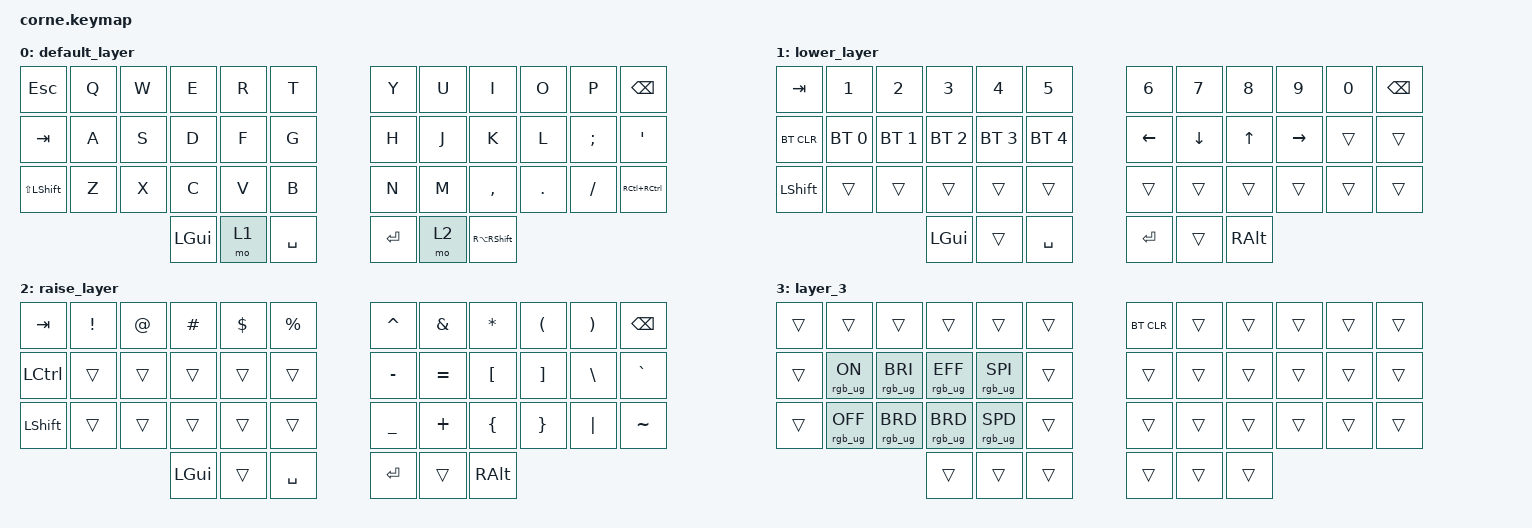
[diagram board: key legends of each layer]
/*
 * Copyright (c) 2020 The ZMK Contributors
 *
 * SPDX-License-Identifier: MIT
 */

#include <behaviors.dtsi>
#include <dt-bindings/zmk/bt.h>
#include <dt-bindings/zmk/keys.h>
#include <dt-bindings/zmk/rgb.h>

/ {
    keymap {
        compatible = "zmk,keymap";

        default_layer {
            // -----------------------------------------------------------------------------------------
            // |  TAB |  Q  |  W  |  E  |  R  |  T  |   |  Y  |  U   |  I  |  O  |  P  | BSPC |
            // | CTRL |  A  |  S  |  D  |  F  |  G  |   |  H  |  J   |  K  |  L  |  ;  |  '   |
            // | SHFT |  Z  |  X  |  C  |  V  |  B  |   |  N  |  M   |  ,  |  .  |  /  | ESC  |
            //                    | GUI | LWR | SPC |   | ENT | RSE  | ALT |

            bindings = <
&kp ESCAPE          &kp Q  &kp W  &kp E     &kp R  &kp T        &kp Y    &kp U  &kp I                &kp O    &kp P     &kp BSPC
&kp TAB             &kp A  &kp S  &kp D     &kp F  &kp G        &kp H    &kp J  &kp K                &kp L    &kp SEMI  &kp SQT
&kp LS(LEFT_SHIFT)  &kp Z  &kp X  &kp C     &kp V  &kp B        &kp N    &kp M  &kp COMMA            &kp DOT  &kp FSLH  &kp RC(RIGHT_CONTROL)
                                  &kp LGUI  &mo 1  &kp SPACE    &kp RET  &mo 2  &kp RA(RIGHT_SHIFT)
            >;
        };

        lower_layer {
            // -----------------------------------------------------------------------------------------
            // |  TAB |  1  |  2  |  3  |  4  |  5  |   |  6  |  7  |  8  |  9  |  0  | BSPC |
            // | BTCLR| BT1 | BT2 | BT3 | BT4 | BT5 |   | LFT | DWN |  UP | RGT |     |      |
            // | SHFT |     |     |     |     |     |   |     |     |     |     |     |      |
            //                    | GUI |     | SPC |   | ENT |     | ALT |

            bindings = <
&kp TAB     &kp N1        &kp N2        &kp N3        &kp N4        &kp N5          &kp N6    &kp N7    &kp N8    &kp N9     &kp N0  &kp BSPC
&bt BT_CLR  &bt BT_SEL 0  &bt BT_SEL 1  &bt BT_SEL 2  &bt BT_SEL 3  &bt BT_SEL 4    &kp LEFT  &kp DOWN  &kp UP    &kp RIGHT  &trans  &trans
&kp LSHFT   &trans        &trans        &trans        &trans        &trans          &trans    &trans    &trans    &trans     &trans  &trans
                                        &kp LGUI      &trans        &kp SPACE       &kp RET   &trans    &kp RALT
            >;
        };

        raise_layer {
            // -----------------------------------------------------------------------------------------
            // |  TAB |  !  |  @  |  #  |  $  |  %  |   |  ^  |  &  |  *  |  (  |  )  | BSPC |
            // | CTRL |     |     |     |     |     |   |  -  |  =  |  [  |  ]  |  \  |  `   |
            // | SHFT |     |     |     |     |     |   |  _  |  +  |  {  |  }  | "|" |  ~   |
            //                    | GUI |     | SPC |   | ENT |     | ALT |

            bindings = <
&kp TAB    &kp EXCL  &kp AT  &kp HASH  &kp DLLR  &kp PRCNT    &kp CARET  &kp AMPS   &kp ASTRK  &kp LPAR  &kp RPAR  &kp BSPC
&kp LCTRL  &trans    &trans  &trans    &trans    &trans       &kp MINUS  &kp EQUAL  &kp LBKT   &kp RBKT  &kp BSLH  &kp GRAVE
&kp LSHFT  &trans    &trans  &trans    &trans    &trans       &kp UNDER  &kp PLUS   &kp LBRC   &kp RBRC  &kp PIPE  &kp TILDE
                             &kp LGUI  &trans    &kp SPACE    &kp RET    &trans     &kp RALT
            >;
        };

        layer_3 {
            bindings = <
&trans  &trans           &trans           &trans           &trans           &trans    &bt BT_CLR  &trans  &trans  &trans  &trans  &trans
&trans  &rgb_ug RGB_ON   &rgb_ug RGB_BRI  &rgb_ug RGB_EFF  &rgb_ug RGB_SPI  &trans    &trans      &trans  &trans  &trans  &trans  &trans
&trans  &rgb_ug RGB_OFF  &rgb_ug RGB_BRD  &rgb_ug RGB_BRD  &rgb_ug RGB_SPD  &trans    &trans      &trans  &trans  &trans  &trans  &trans
                                          &trans           &trans           &trans    &trans      &trans  &trans
            >;
        };
    };
};
